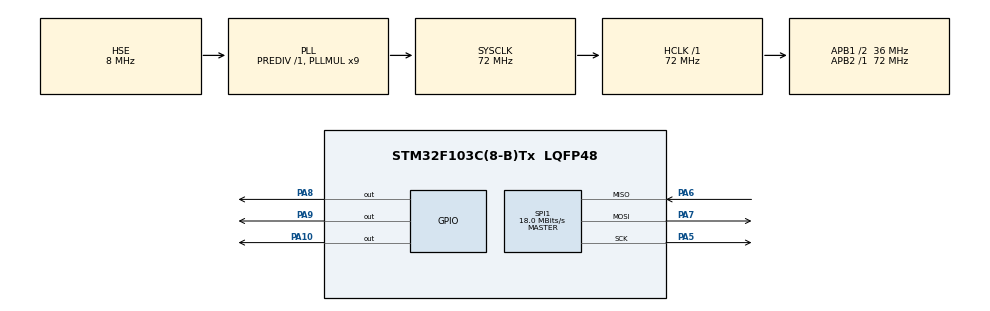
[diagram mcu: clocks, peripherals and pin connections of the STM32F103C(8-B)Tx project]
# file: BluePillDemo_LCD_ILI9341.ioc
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Dma.Request0=SPI1_TX
Dma.SPI1_TX.0.Direction=DMA_MEMORY_TO_PERIPH
Dma.SPI1_TX.0.Instance=DMA1_Channel3
Dma.SPI1_TX.0.MemDataAlignment=DMA_MDATAALIGN_BYTE
Dma.SPI1_TX.0.MemInc=DMA_MINC_ENABLE
Dma.SPI1_TX.0.Mode=DMA_NORMAL
Dma.SPI1_TX.0.PeriphDataAlignment=DMA_PDATAALIGN_BYTE
Dma.SPI1_TX.0.PeriphInc=DMA_PINC_DISABLE
Dma.SPI1_TX.0.Priority=DMA_PRIORITY_VERY_HIGH
Mcu.Family=STM32F1
Mcu.Name=STM32F103C(8-B)Tx
Mcu.Package=LQFP48
NVIC.DMA1_Channel3_IRQn=true\:0\:0\:false\:false\:true\:false\:true
NVIC.PriorityGroup=NVIC_PRIORITYGROUP_4
PA10.GPIO_Speed=GPIO_SPEED_FREQ_HIGH
PA10.PinState=GPIO_PIN_SET
PA10.Signal=GPIO_Output
PA13.Mode=Serial_Wire
PA13.Signal=SYS_JTMS-SWDIO
PA14.Mode=Serial_Wire
PA14.Signal=SYS_JTCK-SWCLK
PA5.Mode=Full_Duplex_Master
PA5.Signal=SPI1_SCK
PA6.Mode=Full_Duplex_Master
PA6.Signal=SPI1_MISO
PA7.Mode=Full_Duplex_Master
PA7.Signal=SPI1_MOSI
PA8.GPIO_Speed=GPIO_SPEED_FREQ_HIGH
PA8.Signal=GPIO_Output
PA9.GPIO_Speed=GPIO_SPEED_FREQ_HIGH
PA9.Signal=GPIO_Output
PD0-OSC_IN.Mode=HSE-External-Oscillator
PD0-OSC_IN.Signal=RCC_OSC_IN
PD1-OSC_OUT.Mode=HSE-External-Oscillator
PD1-OSC_OUT.Signal=RCC_OSC_OUT
ProjectManager.HeapSize=0x200
ProjectManager.StackSize=0x400
ProjectManager.TargetToolchain=STM32CubeIDE
RCC.AHBFreq_Value=72000000
RCC.APB1CLKDivider=RCC_HCLK_DIV2
RCC.APB1Freq_Value=36000000
RCC.APB1TimFreq_Value=72000000
RCC.APB2Freq_Value=72000000
RCC.APB2TimFreq_Value=72000000
RCC.HCLKFreq_Value=72000000
RCC.PLLMUL=RCC_PLL_MUL9
RCC.PLLSourceVirtual=RCC_PLLSOURCE_HSE
RCC.SYSCLKFreq_VALUE=72000000
RCC.SYSCLKSource=RCC_SYSCLKSOURCE_PLLCLK
RCC.USBFreq_Value=72000000
SPI1.BaudRatePrescaler=SPI_BAUDRATEPRESCALER_4
SPI1.CLKPolarity=SPI_POLARITY_HIGH
SPI1.CalculateBaudRate=18.0 MBits/s
SPI1.Direction=SPI_DIRECTION_2LINES
SPI1.Mode=SPI_MODE_MASTER
SPI1.VirtualType=VM_MASTER
board=custom

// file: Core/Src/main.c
/* USER CODE BEGIN Header */
/**
  ******************************************************************************
  * @file           : main.c
  * @brief          : Main program body
  ******************************************************************************
  * @attention
  *
  * <h2><center>&copy; Copyright (c) 2020 STMicroelectronics.
  * All rights reserved.</center></h2>
  *
  * This software component is licensed by ST under BSD 3-Clause license,
  * the "License"; You may not use this file except in compliance with the
  * License. You may obtain a copy of the License at:
  *                        opensource.org/licenses/BSD-3-Clause
  *
  ******************************************************************************
  */
/* USER CODE END Header */

#include "main.h"

/* USER CODE BEGIN Includes */
#include <string.h>
#include "graphics.h"

/* USER CODE END Includes */

SPI_HandleTypeDef hspi1;
DMA_HandleTypeDef hdma_spi1_tx;

/* USER CODE BEGIN PV */
extern const unsigned char pic[];
extern const uint8_t kitten[];
const int16_t triangleCornersXOrig[3] = {-5, 0, 5};
const int16_t triangleCornersYOrig[3] = {5, -5, 5};

/* USER CODE END PV */

void SystemClock_Config(void);
static void MX_GPIO_Init(void);
static void MX_DMA_Init(void);
static void MX_SPI1_Init(void);

int main(void)
{
  /* USER CODE BEGIN 1 */
  int16_t triangleCornersX[3] = {-5, 0, 5};
  int16_t triangleCornersY[3] = {5, -5, 5};
  uint8_t i = 0U;
  int16_t j;

  /* USER CODE END 1 */

  /* MCU Configuration--------------------------------------------------------*/

  /* Reset of all peripherals, Initializes the Flash interface and the Systick. */
  HAL_Init();

  /* Configure the system clock */
  SystemClock_Config();

  /* Initialize all configured peripherals */
  MX_GPIO_Init();
  MX_DMA_Init();
  MX_SPI1_Init();
  /* USER CODE BEGIN 2 */
  GraphicsInit();

  /* USER CODE END 2 */

  /* Infinite loop */
  while (1)
  {

    /* USER CODE BEGIN 3 */
	i++;
	if (i == 13U)
	{
		memcpy(triangleCornersX, triangleCornersXOrig, sizeof(triangleCornersX));
		memcpy(triangleCornersY, triangleCornersYOrig, sizeof(triangleCornersY));
		i = 0U;
	}

	GraphicsClear(RED);
	HAL_Delay(200UL);

	GraphicsClear(GREEN);
	HAL_Delay(200UL);

	GraphicsClear(BLUE);
	HAL_Delay(200UL);

	GraphicsClear(BLACK);
	GraphicsVline(10, 20, 400, WHITE);
	GraphicsHline(0U, ILI9341_LCD_WIDTH, 50, YELLOW);
	GraphicsRectangle(50, 50, 100, 50, GREEN);
	GraphicsStandardString(50, 200, "Freddy", PINK);
	GraphicsStandardStringVert(50, 100, "Freddy", CYAN);
	GraphicsLargeString(50, 180, "Freddy", PINK);
	GraphicsLargeStringVert(80, 100, "Freddy", CYAN);
	GraphicsLine(150, 160, 170, 180, RED);
	GraphicsLine(180, 170, 160, 150, BLUE);
	GraphicsCircle(120, 210, 22, ORANGE);
	HAL_Delay(500UL);

	GraphicsClear(BLACK);
	GraphicsMonochromeBitmap(0, 0, 128, 64, BLUE, YELLOW, pic);
	GraphicsFilledCircle(200, 200, 20, PURPLE);
	HAL_Delay(500UL);

	GraphicsClear(BLACK);
	for (j = 0; j < 105; j++)
	{
		GraphicsColourBitmap(j, j, 101, 135, kitten);
		GraphicsVline(j - 1, 0, ILI9341_LCD_HEIGHT, BLACK);
		GraphicsHline(0, ILI9341_LCD_WIDTH, j - 1, BLACK);
	}

	GraphicsClear(BLACK);
	GraphicsScaleShape(3U, triangleCornersX, triangleCornersY, 15, 13);
	GraphicsRotateShape(3U, triangleCornersX, triangleCornersY, 45);
	GraphicsDrawShape(3U, triangleCornersX, triangleCornersY, 50, 50, YELLOW);
	GraphicsDrawFilledShape(3U, triangleCornersX, triangleCornersY, 50, 100, BLUE);
	GraphicsArc(120, 160, 30, 45, 270, RED);
	GraphicsSegment(50, 180, 30, -90, 179, WHITE);
	GraphicsFilledSegment(100, 50, 30, 180, -90, 20U, WHITE);
	HAL_Delay(500UL);

	GraphicsClear(BLACK);
	GraphicsRoundedRectangle(20, 20, 150U, 50U, 15, PINK);
	HAL_Delay(500UL);
  }
  /* USER CODE END 3 */
}

void SystemClock_Config(void)
{
  RCC_OscInitTypeDef RCC_OscInitStruct = {0};
  RCC_ClkInitTypeDef RCC_ClkInitStruct = {0};

  /** Initializes the CPU, AHB and APB busses clocks
  */
  RCC_OscInitStruct.OscillatorType = RCC_OSCILLATORTYPE_HSE;
  RCC_OscInitStruct.HSEState = RCC_HSE_ON;
  RCC_OscInitStruct.HSEPredivValue = RCC_HSE_PREDIV_DIV1;
  RCC_OscInitStruct.HSIState = RCC_HSI_ON;
  RCC_OscInitStruct.PLL.PLLState = RCC_PLL_ON;
  RCC_OscInitStruct.PLL.PLLSource = RCC_PLLSOURCE_HSE;
  RCC_OscInitStruct.PLL.PLLMUL = RCC_PLL_MUL9;
  if (HAL_RCC_OscConfig(&RCC_OscInitStruct) != HAL_OK)
  {
    Error_Handler();
  }
  /** Initializes the CPU, AHB and APB busses clocks
  */
  RCC_ClkInitStruct.ClockType = RCC_CLOCKTYPE_HCLK|RCC_CLOCKTYPE_SYSCLK
                              |RCC_CLOCKTYPE_PCLK1|RCC_CLOCKTYPE_PCLK2;
  RCC_ClkInitStruct.SYSCLKSource = RCC_SYSCLKSOURCE_PLLCLK;
  RCC_ClkInitStruct.AHBCLKDivider = RCC_SYSCLK_DIV1;
  RCC_ClkInitStruct.APB1CLKDivider = RCC_HCLK_DIV2;
  RCC_ClkInitStruct.APB2CLKDivider = RCC_HCLK_DIV1;

  if (HAL_RCC_ClockConfig(&RCC_ClkInitStruct, FLASH_LATENCY_2) != HAL_OK)
  {
    Error_Handler();
  }
}

static void MX_SPI1_Init(void)
{

  /* SPI1 parameter configuration*/
  hspi1.Instance = SPI1;
  hspi1.Init.Mode = SPI_MODE_MASTER;
  hspi1.Init.Direction = SPI_DIRECTION_2LINES;
  hspi1.Init.DataSize = SPI_DATASIZE_8BIT;
  hspi1.Init.CLKPolarity = SPI_POLARITY_HIGH;
  hspi1.Init.CLKPhase = SPI_PHASE_1EDGE;
  hspi1.Init.NSS = SPI_NSS_SOFT;
  hspi1.Init.BaudRatePrescaler = SPI_BAUDRATEPRESCALER_4;
  hspi1.Init.FirstBit = SPI_FIRSTBIT_MSB;
  hspi1.Init.TIMode = SPI_TIMODE_DISABLE;
  hspi1.Init.CRCCalculation = SPI_CRCCALCULATION_DISABLE;
  hspi1.Init.CRCPolynomial = 10;
  if (HAL_SPI_Init(&hspi1) != HAL_OK)
  {
    Error_Handler();
  }

}

static void MX_DMA_Init(void)
{

  /* DMA controller clock enable */
  __HAL_RCC_DMA1_CLK_ENABLE();

  /* DMA interrupt init */
  /* DMA1_Channel3_IRQn interrupt configuration */
  HAL_NVIC_SetPriority(DMA1_Channel3_IRQn, 0, 0);
  HAL_NVIC_EnableIRQ(DMA1_Channel3_IRQn);

}

static void MX_GPIO_Init(void)
{
  GPIO_InitTypeDef GPIO_InitStruct = {0};

  /* GPIO Ports Clock Enable */
  __HAL_RCC_GPIOD_CLK_ENABLE();
  __HAL_RCC_GPIOA_CLK_ENABLE();

  /*Configure GPIO pin Output Level */
  HAL_GPIO_WritePin(GPIOA, GPIO_PIN_8|GPIO_PIN_9, GPIO_PIN_RESET);

  /*Configure GPIO pin Output Level */
  HAL_GPIO_WritePin(GPIOA, GPIO_PIN_10, GPIO_PIN_SET);

  /*Configure GPIO pins : PA8 PA9 PA10 */
  GPIO_InitStruct.Pin = GPIO_PIN_8|GPIO_PIN_9|GPIO_PIN_10;
  GPIO_InitStruct.Mode = GPIO_MODE_OUTPUT_PP;
  GPIO_InitStruct.Pull = GPIO_NOPULL;
  GPIO_InitStruct.Speed = GPIO_SPEED_FREQ_HIGH;
  HAL_GPIO_Init(GPIOA, &GPIO_InitStruct);

}

void Error_Handler(void)
{
}

/************************ (C) COPYRIGHT STMicroelectronics *****END OF FILE****/
